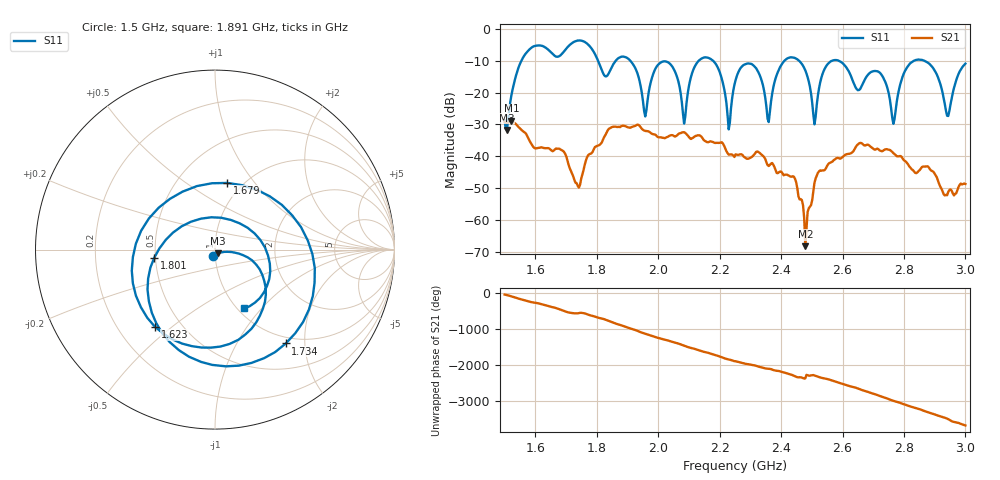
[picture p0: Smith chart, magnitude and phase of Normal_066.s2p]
# HZ S RI R 50
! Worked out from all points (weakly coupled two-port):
!   404 points, 1.5 GHz to 3 GHz, reference 50 ohm
!   highest |S21| = -28.83 dB at 1.522 GHz (marker M1); lowest = -68.3 dB at 2.479 GHz (marker M2)
!   lowest |S11| = -31.7 dB at 1.507 GHz (marker M3), VSWR 1.05, Z = 51.6 - j2.13 ohm
!   |S11| at or under -10 dB: 1.91 GHz to 2.131 GHz (221.6 MHz wide, 11 % of centre); 2.179 GHz to 2.411 GHz (231.4 MHz wide, 10.1 % of centre); 2.589 GHz to 2.831 GHz (242.5 MHz wide, 8.95 % of centre) (the widest 3 of 7)
!   S12 and S22 are empty: the file has one direction only
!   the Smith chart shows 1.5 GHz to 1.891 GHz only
!   S11 on the Smith chart (normalised r, x): 1.5 GHz: 0.97, -0.07; 1.623 GHz: 0.36, -0.44; 1.679 GHz: 0.85, +0.74; 1.734 GHz: 0.89, -1.63; 1.801 GHz: 0.49, -0.05; 1.891 GHz: 1.07, -0.81
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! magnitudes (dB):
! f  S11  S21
! 1.5 GHz  -28.7  -29.2
! 1.507 GHz  -31.7  -29.6
! 1.522 GHz  -20.7  -28.8
! 1.623 GHz  -5.3  -37.2
! 1.679 GHz  -8.5  -37.6
! 1.734 GHz  -3.7  -48.5
! 1.753 GHz  -3.7  -45.8
! 1.801 GHz  -9.3  -36.7
! 1.891 GHz  -8.7  -30.5
! 1.958 GHz  -27.5  -32.0
! 2.002 GHz  -10.9  -34.1
! 2.084 GHz  -29.7  -32.4
! 2.14 GHz  -9.3  -33.8
! 2.23 GHz  -31.5  -39.5
! 2.252 GHz  -16.1  -39.4
! 2.479 GHz  -13.0  -68.3
! 2.501 GHz  -23.1  -53.8
! 2.572 GHz  -9.8  -41.2
! 2.751 GHz  -20.3  -37.9
! 2.862 GHz  -9.8  -43.2
! 2.944 GHz  -27.3  -51.2
! 3 GHz  -10.9  -48.7
